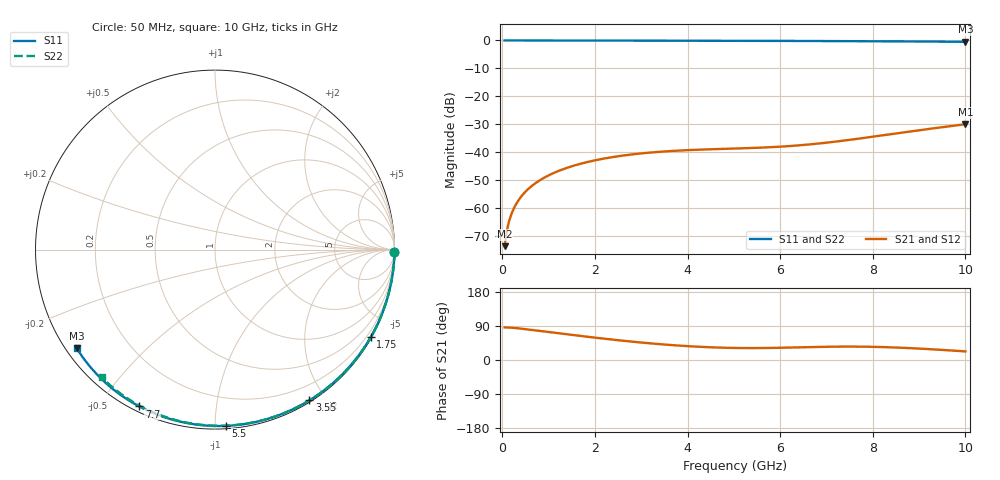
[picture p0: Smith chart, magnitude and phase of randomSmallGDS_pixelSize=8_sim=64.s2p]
! freq	dB(S11)	phase(S11)	dB(S12)	phase(S12)
!  dB(S21)	phase(S21)	dB(S22)	phase(S22)
!S-par simulation data
#  GHz  S  DB  R 50
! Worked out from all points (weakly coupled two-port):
!   200 points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, 50 MHz to 10 GHz, reference 50 ohm
!   highest |S21| = -29.96 dB at 10 GHz (marker M1); lowest = -73.6 dB at 50 MHz (marker M2)
!   lowest |S11| = -0.5 dB at 10 GHz (marker M3), VSWR 36.28, Z = 1.52 - j15.9 ohm
!   |S11| at or under -10 dB: nowhere
!   |S22| runs from -0.4 to 0.0 dB; largest |S21 - S12| = 0
!   S11 on the Smith chart (normalised r, x): 50 MHz: open; 1.75 GHz: 0.03, -3.82; 3.55 GHz: 0.02, -1.81; 5.5 GHz: 0.02, -1.06; 7.7 GHz: 0.02, -0.63; 10 GHz: 0.03, -0.32
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0.05  -0.00 -0.9  -73.58 86.0  -73.58 86.0  -0.00 -0.8
0.1  -0.00 -1.7  -67.85 85.8  -67.85 85.8  -0.00 -1.5
0.15  -0.00 -2.6  -64.43 85.7  -64.43 85.7  -0.00 -2.3
0.2  -0.00 -3.4  -61.97 85.3  -61.97 85.3  -0.00 -3.1
0.25  -0.00 -4.3  -60.06 84.8  -60.06 84.8  -0.00 -3.9
0.35  -0.00 -6.0  -57.17 83.5  -57.17 83.5  -0.00 -5.4
0.5  -0.01 -8.5  -54.10 81.4  -54.10 81.4  -0.01 -7.7
0.7  -0.01 -11.9  -51.24 78.4  -51.24 78.4  -0.01 -10.8
1  -0.02 -16.9  -48.25 73.8  -48.25 73.8  -0.02 -15.3
1.35  -0.03 -22.8  -45.83 68.5  -45.83 68.5  -0.03 -20.6
1.75  -0.04 -29.4  -43.84 62.6  -43.84 62.6  -0.03 -26.6
2.5  -0.05 -41.5  -41.42 52.2  -41.42 52.2  -0.05 -37.7
3.4  -0.07 -55.7  -39.82 41.8  -39.82 41.8  -0.07 -50.6
3.55  -0.08 -58.0  -39.65 40.3  -39.65 40.3  -0.07 -52.7
4.3  -0.10 -69.2  -39.03 34.6  -39.03 34.6  -0.09 -63.0
5.05  -0.12 -80.1  -38.64 31.7  -38.64 31.7  -0.11 -73.0
5.5  -0.14 -86.5  -38.39 31.5  -38.39 31.5  -0.13 -78.9
6.7  -0.20 -102.8  -37.09 34.2  -37.09 34.2  -0.18 -93.8
7.7  -0.26 -115.8  -35.11 35.3  -35.11 35.3  -0.24 -105.7
8.35  -0.31 -124.0  -33.62 33.6  -33.62 33.6  -0.28 -113.2
9.2  -0.39 -134.6  -31.68 28.8  -31.68 28.8  -0.36 -122.7
10  -0.48 -144.6  -29.96 22.6  -29.96 22.6  -0.44 -131.6
